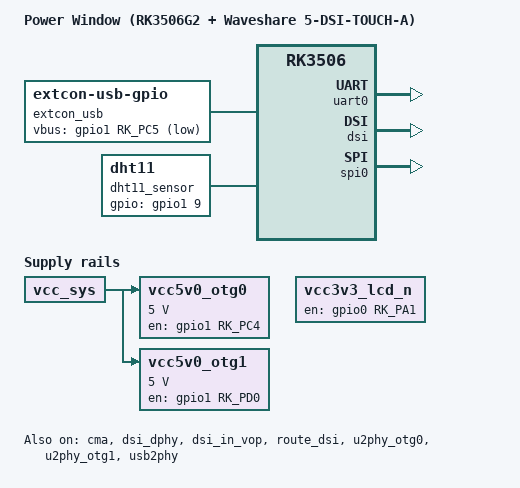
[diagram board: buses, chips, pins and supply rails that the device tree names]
/*
 * Based on rk3506g-evb1-v10.dts (https://github.com/rockchip-linux/kernel)
 */

/dts-v1/;
#include "rk3506.dtsi"
#include "rk3506-power-window.dtsi"

/ {
    model = "Power Window (RK3506G2 + Waveshare 5-DSI-TOUCH-A)";
    compatible = "power-window", "rockchip,rk3506";

    chosen {
        bootargs = "earlycon=uart8250,mmio32,0xff0a0000 console=ttyS0 root=/dev/mmcblk0p2 rootfstype=ext4 rootwait panic=10 clk_ignore_unused";
    };

    extcon_usb: extcon-usb {
        compatible = "linux,extcon-usb-gpio";
        status = "okay";
        vbus-gpio = <&gpio1 RK_PC5 GPIO_ACTIVE_LOW>;
        pinctrl-0 = <&usb_extcon_vbus>;
        pinctrl-names = "default";
    };

    vcc3v3_lcd_n: vcc3v3-lcd0-n {
        compatible = "regulator-fixed";
        enable-active-high;
        gpio = <&gpio0 RK_PA1 GPIO_ACTIVE_HIGH>;
        regulator-name = "vcc3v3_lcd_n";
        regulator-boot-on;
        regulator-state-mem {
            regulator-off-in-suspend;
        };
    };

    vcc5v0_otg0: vcc5v0-otg0-regulator {
        compatible = "regulator-fixed";
        regulator-name = "vcc5v0_otg0";
        regulator-min-microvolt = <5000000>;
        regulator-max-microvolt = <5000000>;
        enable-active-high;
        gpio = <&gpio1 RK_PC4 GPIO_ACTIVE_HIGH>;
        vin-supply = <&vcc_sys>;
        pinctrl-0 = <&vcc5v0_otg0_en>;
        pinctrl-names = "default";
    };

    vcc5v0_otg1: vcc5v0-otg1-regulator {
        compatible = "regulator-fixed";
        regulator-name = "vcc5v0_otg1";
        regulator-boot-on;
        regulator-always-on;
        regulator-min-microvolt = <5000000>;
        regulator-max-microvolt = <5000000>;
        enable-active-high;
        gpio = <&gpio1 RK_PD0 GPIO_ACTIVE_HIGH>;
        vin-supply = <&vcc_sys>;
        pinctrl-0 = <&vcc5v0_otg1_en>;
        pinctrl-names = "default";
    };

    dht11_sensor {
        compatible = "dht11";
        status = "okay";
        gpios = <&gpio1 9 GPIO_ACTIVE_HIGH>;
        pinctrl-0 = <&dht11_pin>;
        pinctrl-names = "default";
    };
};

&uart0 { status = "okay"; };

/* == DISPLAY =============================================================== */

&cma { status = "okay"; };
&dsi { status = "okay"; };
&dsi_dphy { status = "okay"; };
&dsi_in_vop { status = "okay"; };
&dsi_panel { power-supply = <&vcc3v3_lcd_n>; };
&route_dsi { status = "okay"; };

/* == ESP32-C6 ============================================================== */

&spi0 {
    status = "okay";
    pinctrl-0 = <&rm_io7_spi0_clk &rm_io6_spi0_mosi &rm_io5_spi0_miso>;
    pinctrl-names = "default";
    cs-gpios = <&gpio0 RK_PA4 GPIO_ACTIVE_LOW>;
};

/* == USB =================================================================== */

&u2phy_otg0 {
    status = "okay";
    vbus-supply = <&vcc5v0_otg0>;
    rockchip,gpio-vbus-det;
};

&u2phy_otg1 {
    status = "okay";
    vbus-supply = <&vcc5v0_otg1>;
};

&usb2phy {
    status = "okay";
    extcon = <&extcon_usb>;
};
